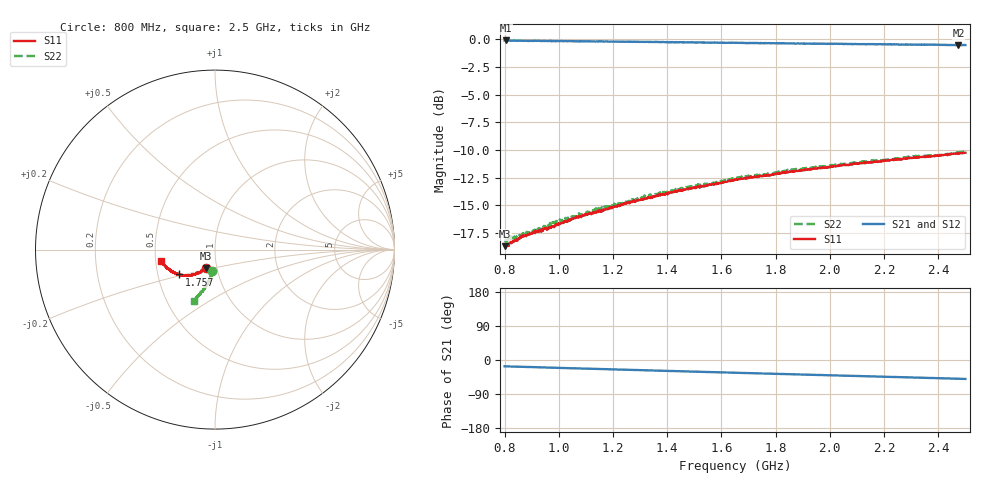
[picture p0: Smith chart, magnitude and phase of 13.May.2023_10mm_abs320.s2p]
!Keysight Technologies N9950B: A.12.38
!Date: Saturday, 13 May 2023 13:03:52
!Timezone: (UTC-06:00) Central Time (US & Canada)
!Model: N9950B
!Serial: MY61131330
!GPS Latitude:
!GPS Longitude:
!GPS TimeStamp: 0001-01-01 00:00:00Z
!GPS Seconds Since Last Read: 0
!CHECKSUM:1087254534
!Correction: S11(ON U)S21(ON U)S12(ON U)S22(ON U)
!S2P File: Measurements:S11,S21,S12,S22:
# Hz S DB R 50
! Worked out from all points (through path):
!   1001 points, 800 MHz to 2.5 GHz, reference 50 ohm
!   highest |S21| = -0.09 dB at 803.4 MHz (marker M1); lowest = -0.5 dB at 2.474 GHz (marker M2)
!   group delay of S21, straight-line fit = 54.1 ps
!   lowest |S11| = -18.7 dB at 801.7 MHz (marker M3), VSWR 1.26, Z = 44.1 - j9.31 ohm
!   |S11| at or under -10 dB: start of sweep to end of sweep
!   |S22| runs from -18.3 to -10.1 dB; largest |S21 - S12| = 0.0056
!   S11 on the Smith chart (normalised r, x): 800 MHz: 0.88, -0.19; 1.757 GHz: 0.65, -0.19; 2.5 GHz: 0.53, -0.07
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8e8  -18.64 -116.9  -0.09 -16.6  -0.11 -16.7  -18.22 -96.8
8.017e8  -18.68 -116.6  -0.10 -16.7  -0.10 -16.6  -18.18 -96.0
8.034e8  -18.60 -116.3  -0.09 -16.8  -0.11 -16.8  -18.28 -96.6
8.663e8  -17.72 -118.5  -0.12 -18.0  -0.13 -18.1  -17.60 -96.3
9.632e8  -17.02 -122.3  -0.14 -19.9  -0.14 -20.0  -16.82 -97.9
9.989e8  -16.78 -122.2  -0.14 -20.7  -0.15 -20.8  -16.41 -98.2
1.0839e9  -16.01 -124.8  -0.17 -22.3  -0.16 -22.4  -15.83 -99.7
1.1383e9  -15.66 -128.0  -0.18 -23.5  -0.18 -23.5  -15.27 -100.2
1.2488e9  -14.84 -130.5  -0.20 -25.7  -0.22 -25.7  -14.71 -101.7
1.3678e9  -14.13 -133.6  -0.23 -28.1  -0.25 -28.1  -13.95 -102.6
1.4732e9  -13.53 -137.2  -0.26 -30.2  -0.27 -30.2  -13.35 -104.4
1.65e9  -12.70 -142.1  -0.31 -33.7  -0.31 -33.6  -12.53 -106.7
1.7571e9  -12.31 -145.2  -0.33 -35.7  -0.34 -35.7  -12.19 -107.1
1.8489e9  -11.99 -147.2  -0.35 -37.4  -0.36 -37.4  -11.73 -108.4
1.9339e9  -11.71 -150.6  -0.38 -39.1  -0.39 -39.1  -11.56 -109.1
2.0478e9  -11.37 -152.7  -0.39 -41.2  -0.42 -41.3  -11.29 -110.1
2.1413e9  -11.07 -156.5  -0.41 -43.0  -0.42 -43.0  -10.99 -110.5
2.2178e9  -10.93 -158.2  -0.43 -44.5  -0.45 -44.4  -10.84 -111.0
2.3079e9  -10.68 -162.0  -0.45 -46.2  -0.49 -46.2  -10.58 -111.4
2.4082e9  -10.47 -164.5  -0.49 -48.2  -0.50 -48.1  -10.47 -111.9
2.4745e9  -10.31 -166.8  -0.53 -49.3  -0.52 -49.4  -10.20 -112.6
2.5e9  -10.24 -168.2  -0.50 -50.0  -0.52 -49.8  -10.14 -112.2
